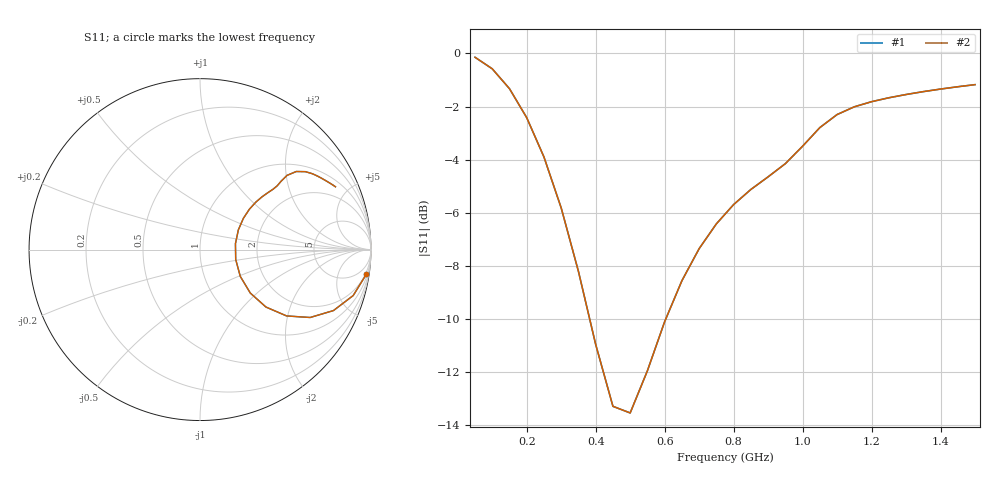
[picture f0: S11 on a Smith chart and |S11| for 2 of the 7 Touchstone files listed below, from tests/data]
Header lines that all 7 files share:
! 1 Port Network Data from SP1.SP block
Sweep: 50 MHz to 1.5 GHz
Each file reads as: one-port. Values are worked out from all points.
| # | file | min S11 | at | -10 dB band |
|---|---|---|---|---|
| 1 | ads_1port_db_ghz.s1p | -13.5 dB | 500 MHz | 220.8 MHz wide |
| 2 | ads_1port_db_ghz_low_precision.s1p | -13.5 dB | 500 MHz | 220.7 MHz wide |
| 3 | ads_1port_ma_ghz.s1p | -13.5 dB | 500 MHz | 220.8 MHz wide |
| 4 | ads_1port_ma_hz.s1p | -13.5 dB | 500 MHz | 220.8 MHz wide |
| 5 | ads_1port_ma_mhz.s1p | -13.5 dB | 500 MHz | 220.8 MHz wide |
| 6 | ads_1port_ri_ghz.s1p | -13.5 dB | 500 MHz | 220.8 MHz wide |
| 7 | ads_1port_ri_ghz_scientific.s1p | -13.5 dB | 500 MHz | 220.8 MHz wide |
